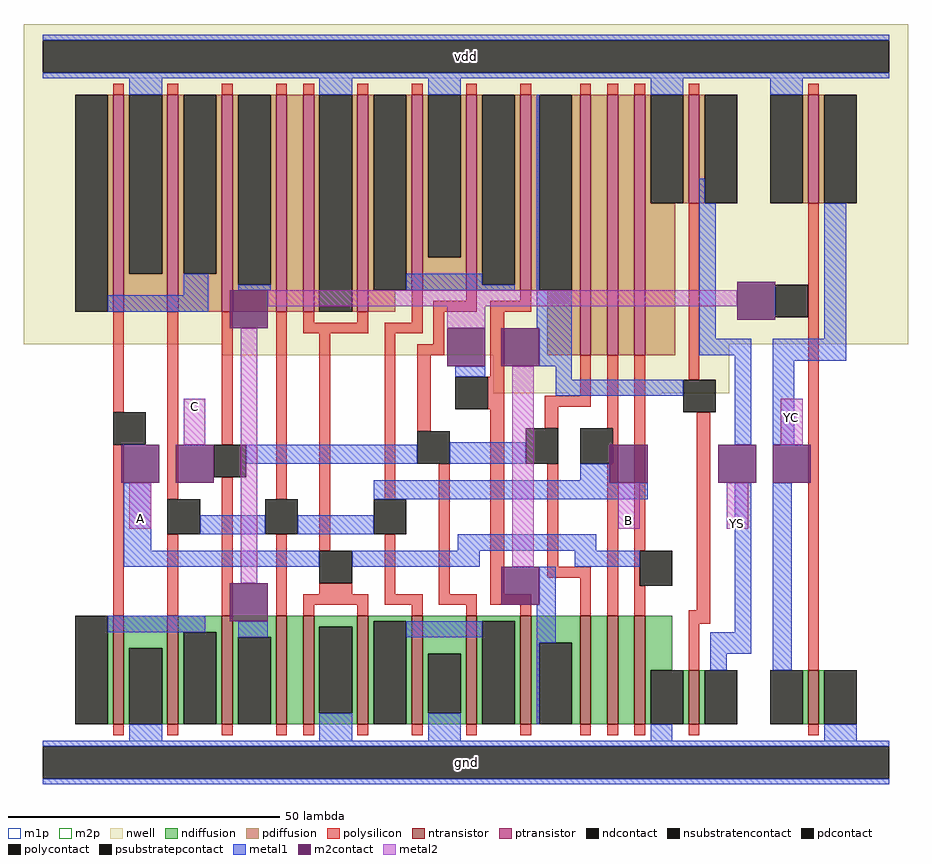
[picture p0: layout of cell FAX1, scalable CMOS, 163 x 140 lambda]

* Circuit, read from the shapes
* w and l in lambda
.subckt FAX1 A B C YS YC vdd gnd
M1 gnd A n1 gnd nfet w=20 l=2
M2 n1 B gnd gnd nfet w=20 l=2
M3 n2 C n1 gnd nfet w=20 l=2
M4 n3 B n2 gnd nfet w=20 l=2
M5 gnd A n3 gnd nfet w=20 l=2
M6 n4 A gnd gnd nfet w=20 l=2
M7 gnd B n4 gnd nfet w=20 l=2
M8 n4 C gnd gnd nfet w=20 l=2
M9 n5 n2 n4 gnd nfet w=20 l=2
M10 n6 C n5 gnd nfet w=20 l=2
M11 n7 B n6 gnd nfet w=20 l=2
M12 gnd A n7 gnd nfet w=20 l=2
M13 YS n5 gnd gnd nfet w=10 l=2
M14 gnd n2 YC gnd nfet w=10 l=2
M15 vdd A n8 vdd pfet w=40 l=2
M16 n8 B vdd vdd pfet w=40 l=2
M17 n2 C n8 vdd pfet w=40 l=2
M18 n9 B n2 vdd pfet w=40 l=2
M19 vdd A n9 vdd pfet w=40 l=2
M20 n10 A vdd vdd pfet w=40 l=2
M21 vdd B n10 vdd pfet w=36 l=2
M22 n10 C vdd vdd pfet w=36 l=2
M23 n5 n2 n10 vdd pfet w=36 l=2
M24 n11 C n5 vdd pfet w=48 l=2
M25 n12 B n11 vdd pfet w=48 l=2
M26 vdd A n12 vdd pfet w=48 l=2
M27 YS n5 vdd vdd pfet w=20 l=2
M28 YC n2 vdd vdd pfet w=20 l=2
.ends

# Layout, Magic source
magic
tech scmos
magscale 1 2
<< nwell >>
rect -13 154 313 272
rect 60 150 247 154
rect 160 136 247 150
rect 188 135 222 136
<< ntransistor >>
rect 20 14 24 54
rect 40 14 44 54
rect 60 14 64 54
rect 80 14 84 54
rect 90 14 94 54
rect 110 14 114 54
rect 130 14 134 54
rect 150 14 154 54
rect 170 14 174 54
rect 192 14 196 54
rect 202 14 206 54
rect 212 14 216 54
rect 232 14 236 34
rect 276 14 280 34
<< ptransistor >>
rect 20 166 24 246
rect 40 166 44 246
rect 60 166 64 246
rect 80 166 84 246
rect 90 166 94 246
rect 110 166 114 246
rect 130 174 134 246
rect 150 174 154 246
rect 170 174 174 246
rect 192 150 196 246
rect 202 150 206 246
rect 212 150 216 246
rect 232 206 236 246
rect 276 206 280 246
<< ndiffusion >>
rect 18 14 20 54
rect 24 42 40 54
rect 24 14 26 42
rect 38 14 40 42
rect 44 48 60 54
rect 44 14 46 48
rect 58 14 60 48
rect 64 46 80 54
rect 64 14 66 46
rect 78 14 80 46
rect 84 14 90 54
rect 94 50 110 54
rect 94 18 96 50
rect 108 18 110 50
rect 94 14 110 18
rect 114 52 130 54
rect 114 14 116 52
rect 128 14 130 52
rect 134 40 150 54
rect 134 18 136 40
rect 148 18 150 40
rect 134 14 150 18
rect 154 52 170 54
rect 154 14 156 52
rect 168 14 170 52
rect 174 44 192 54
rect 174 14 177 44
rect 189 14 192 44
rect 196 14 202 54
rect 206 14 212 54
rect 216 34 226 54
rect 216 14 218 34
rect 230 14 232 34
rect 236 14 238 34
rect 274 14 276 34
rect 280 14 282 34
<< pdiffusion >>
rect 18 166 20 246
rect 24 180 26 246
rect 38 180 40 246
rect 24 166 40 180
rect 44 180 46 246
rect 58 180 60 246
rect 44 166 60 180
rect 64 176 66 246
rect 78 176 80 246
rect 64 166 80 176
rect 84 166 90 246
rect 94 166 96 246
rect 108 166 110 246
rect 114 174 116 246
rect 128 174 130 246
rect 134 186 136 246
rect 148 186 150 246
rect 134 174 150 186
rect 154 176 156 246
rect 168 176 170 246
rect 154 174 170 176
rect 174 174 177 246
rect 189 174 192 246
rect 114 166 124 174
rect 180 150 192 174
rect 196 150 202 246
rect 206 150 212 246
rect 216 206 218 246
rect 230 206 232 246
rect 236 206 238 246
rect 274 206 276 246
rect 280 206 282 246
rect 216 150 227 206
<< ndcontact >>
rect 6 14 18 54
rect 26 14 38 42
rect 46 14 58 48
rect 66 14 78 46
rect 96 18 108 50
rect 116 14 128 52
rect 136 18 148 40
rect 156 14 168 52
rect 177 14 189 44
rect 218 14 230 34
rect 238 14 250 34
rect 262 14 274 34
rect 282 14 294 34
<< pdcontact >>
rect 6 166 18 246
rect 26 180 38 246
rect 46 180 58 246
rect 66 176 78 246
rect 96 166 108 246
rect 116 174 128 246
rect 136 186 148 246
rect 156 176 168 246
rect 177 174 189 246
rect 218 206 230 246
rect 238 206 250 246
rect 262 206 274 246
rect 282 206 294 246
<< psubstratepcontact >>
rect -6 -6 306 6
<< nsubstratencontact >>
rect -6 254 306 266
<< polysilicon >>
rect 20 246 24 250
rect 40 246 44 250
rect 60 246 64 250
rect 80 246 84 250
rect 90 246 94 250
rect 110 246 114 250
rect 130 246 134 250
rect 150 246 154 250
rect 170 246 174 250
rect 192 246 196 250
rect 202 246 206 250
rect 212 246 216 250
rect 232 246 236 250
rect 276 246 280 250
rect 20 129 24 166
rect 20 54 24 117
rect 40 97 44 166
rect 60 117 64 166
rect 40 54 44 84
rect 60 54 64 105
rect 80 97 84 166
rect 90 162 94 166
rect 110 162 114 166
rect 130 162 134 174
rect 150 170 154 174
rect 170 170 174 174
rect 90 158 114 162
rect 120 158 134 162
rect 138 166 154 170
rect 159 166 174 170
rect 80 54 84 84
rect 96 78 100 158
rect 120 97 124 158
rect 138 154 142 166
rect 132 150 142 154
rect 132 122 137 150
rect 159 142 164 166
rect 158 130 164 142
rect 192 135 196 150
rect 96 62 108 66
rect 120 62 124 84
rect 140 62 144 110
rect 159 62 164 130
rect 179 131 196 135
rect 179 123 184 131
rect 202 123 206 150
rect 204 110 206 123
rect 180 72 184 110
rect 180 68 196 72
rect 90 58 114 62
rect 120 58 134 62
rect 140 58 154 62
rect 159 58 174 62
rect 90 54 94 58
rect 110 54 114 58
rect 130 54 134 58
rect 150 54 154 58
rect 170 54 174 58
rect 192 54 196 68
rect 202 54 206 110
rect 212 78 216 150
rect 232 141 236 206
rect 212 65 214 78
rect 212 54 216 65
rect 235 56 240 129
rect 232 51 240 56
rect 232 34 236 51
rect 276 34 280 206
rect 20 10 24 14
rect 40 10 44 14
rect 60 10 64 14
rect 80 10 84 14
rect 90 10 94 14
rect 110 10 114 14
rect 130 10 134 14
rect 150 10 154 14
rect 170 10 174 14
rect 192 10 196 14
rect 202 10 206 14
rect 212 10 216 14
rect 232 10 236 14
rect 276 10 280 14
<< polycontact >>
rect 20 117 32 129
rect 57 105 69 117
rect 40 84 52 97
rect 76 84 88 97
rect 146 130 158 142
rect 132 110 144 122
rect 116 84 128 97
rect 96 66 108 78
rect 172 110 184 123
rect 192 110 204 123
rect 264 164 276 176
rect 230 129 242 141
rect 214 65 226 78
<< metal1 >>
rect -6 266 306 268
rect -6 252 306 254
rect 26 246 38 252
rect 96 246 108 252
rect 136 246 148 252
rect 218 246 230 252
rect 262 246 274 252
rect 46 172 55 180
rect 66 174 78 176
rect 18 166 55 172
rect 128 176 156 180
rect 128 174 168 176
rect 176 174 177 246
rect 236 206 238 215
rect 176 160 189 174
rect 177 146 189 160
rect 236 156 242 206
rect 282 156 290 206
rect 236 150 255 156
rect 146 142 157 146
rect 183 141 189 146
rect 183 135 230 141
rect 69 110 132 117
rect 144 110 172 118
rect 249 117 255 150
rect 263 148 290 156
rect 263 117 271 148
rect 192 104 203 110
rect 116 103 203 104
rect 24 78 34 103
rect 116 97 217 103
rect 52 84 76 91
rect 88 84 116 91
rect 147 78 198 84
rect 24 72 96 78
rect 108 72 155 78
rect 190 72 214 78
rect 18 48 54 54
rect 177 58 183 72
rect 66 46 77 52
rect 26 8 38 14
rect 96 8 108 18
rect 128 46 156 52
rect 136 8 148 18
rect 176 44 183 58
rect 249 48 255 103
rect 176 14 177 44
rect 240 40 255 48
rect 240 34 246 40
rect 263 34 270 103
rect 218 8 226 14
rect 282 8 294 14
rect -6 6 306 8
rect -6 -8 306 -6
<< m2contact >>
rect 63 160 77 174
rect 143 146 157 160
rect 163 146 177 160
rect 250 163 264 177
rect 23 103 37 117
rect 43 103 57 117
rect 203 110 204 117
rect 204 110 217 117
rect 203 103 217 110
rect 243 103 257 117
rect 263 103 277 117
rect 63 52 77 66
rect 163 58 177 72
<< metal2 >>
rect 77 168 250 174
rect 143 160 157 168
rect 46 117 54 134
rect 26 86 34 103
rect 67 66 73 160
rect 167 72 175 146
rect 266 117 274 134
rect 206 86 214 103
rect 246 86 254 103
<< m1p >>
rect -6 252 306 268
rect -6 -8 306 8
<< m2p >>
rect 46 117 54 134
rect 266 117 274 134
rect 26 86 34 103
rect 206 86 214 103
rect 246 86 254 103
<< labels >>
rlabel metal1 -6 252 306 268 0 vdd
port 6 nsew power bidirectional abutment
rlabel metal1 -6 -8 306 8 0 gnd
port 7 nsew ground bidirectional abutment
rlabel metal2 30 90 30 90 3 A
port 1 n signal input
rlabel metal2 50 131 50 131 1 C
port 3 n signal input
rlabel metal2 250 88 250 88 7 YS
port 4 n signal output
rlabel metal2 210 89 210 89 3 B
port 2 n signal input
rlabel metal2 270 127 270 127 5 YC
port 5 n signal output
<< properties >>
string FIXED_BBOX 0 0 300 260
string LEFclass CORE
string LEFsite core
string LEFsymmetry X Y
<< end >>
